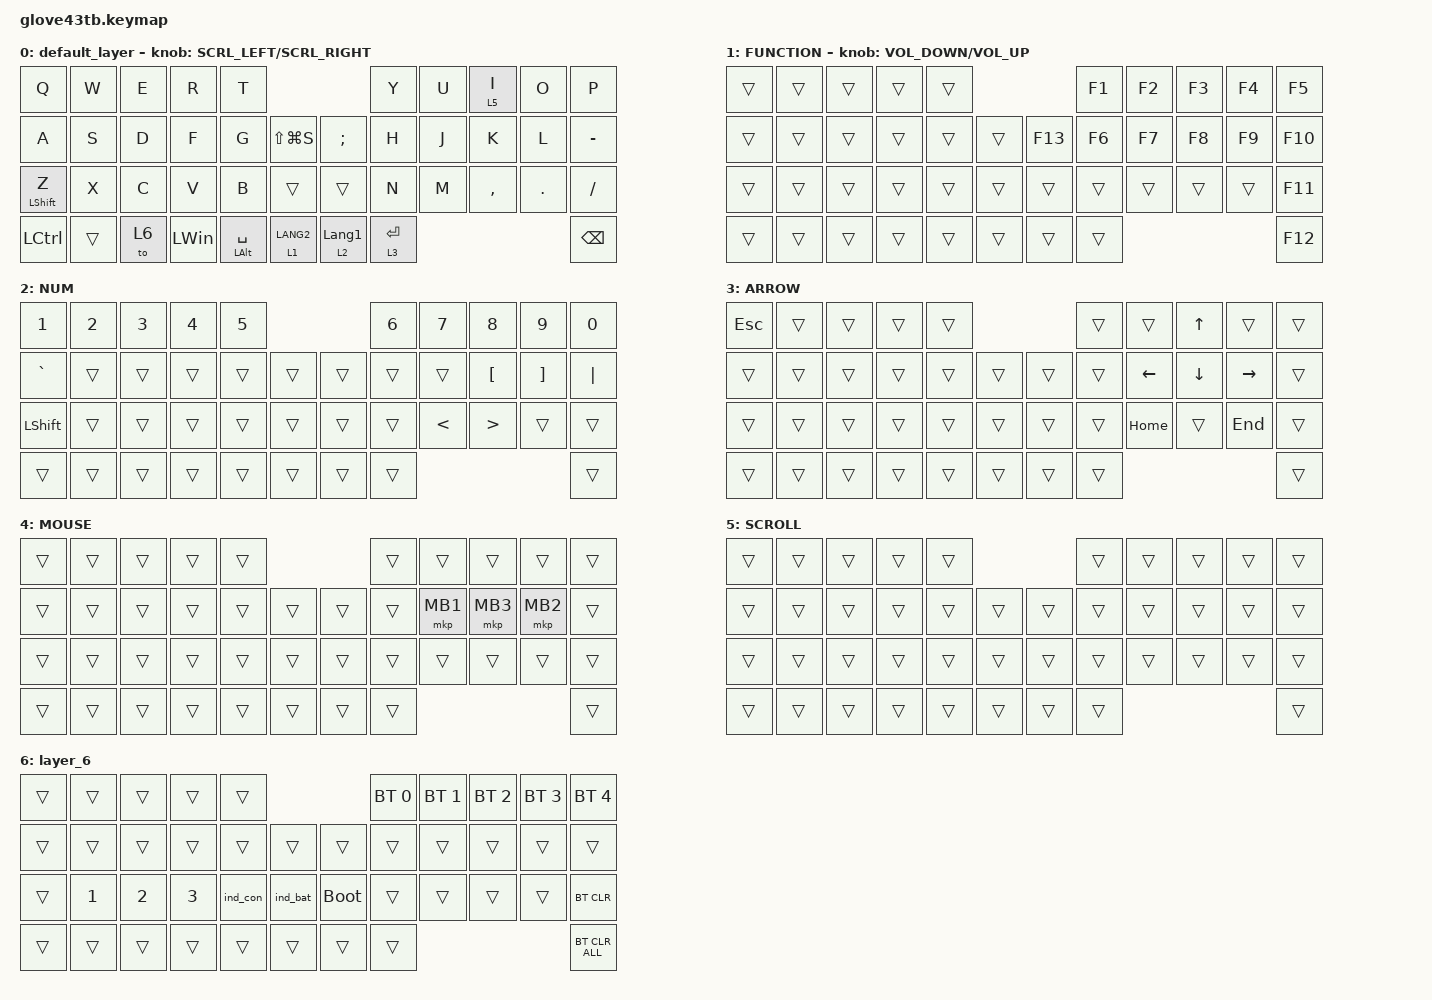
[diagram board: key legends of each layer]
#define ZMK_POINTING_DEFAULT_SCRL_VAL 150

#include <behaviors/rgbled_widget.dtsi>
#include <dt-bindings/zmk/input_transform.h>
#include <input/processors.dtsi>
#include <zephyr/dt-bindings/input/input-event-codes.h>
#include <behaviors.dtsi>
#include <dt-bindings/zmk/bt.h>
#include <dt-bindings/zmk/keys.h>
#include <dt-bindings/zmk/pointing.h>

&mt {
    flavor = "balanced";
    quick-tap-ms = <0>;
};

&mmv {
    delay-ms = <20>;
    trigger-period-ms = <5>;
    time-to-max-speed-ms = <100>;
    acceleration-exponent = <2>;
};

&msc {
    delay-ms = <3>;
    trigger-period-ms = <3>;
    time-to-max-speed-ms = <100>;
    acceleration-exponent = <0>;
};

/ {
    input_processors {
        zip_wheel_scaler: zip_wheel_scaler {
            compatible = "zmk,input-processor-scaler";
            #input-processor-cells = <2>;
            type = <INPUT_EV_REL>;
            codes = <INPUT_REL_WHEEL>;
            track-remainders;
        };
    };
};

/ {
    combos {
        compatible = "zmk,combos";

        tab {
            bindings = <&kp TAB>;
            key-positions = <11 12>;
        };

        shift_tab {
            bindings = <&kp LS(TAB)>;
            key-positions = <12 13>;
        };

        muhennkann {
            bindings = <&to_layer_0 INT_MUHENKAN>;
            key-positions = <11 10>;
        };

        double_quotation {
            bindings = <&kp DOUBLE_QUOTES>;
            key-positions = <20 21>;
        };

        eq {
            bindings = <&kp EQUAL>;
            key-positions = <24 25>;
        };
    };

    macros {
        to_layer_0: to_layer_0 {
            compatible = "zmk,behavior-macro-one-param";
            #binding-cells = <1>;
            bindings = <&to 0 &macro_param_1to1 &kp MACRO_PLACEHOLDER>;
            label = "TO_LAYER_0";
        };
    };

    behaviors {
        lt_to_layer_0: lt_to_layer_0 {
            compatible = "zmk,behavior-hold-tap";
            label = "LAYER_TAP_TO_0";
            bindings = <&mo>, <&to_layer_0>;

            #binding-cells = <2>;
            tapping-term-ms = <200>;
        };

        sensor_rotate_kp: sensor_rotate_kp {
            compatible = "zmk,behavior-sensor-rotate-var";
            #sensor-binding-cells = <2>;
            bindings = <&kp>, <&kp>;
        };

        mouse_wheel_scroll: mouse_wheel_scroll {
            compatible = "zmk,behavior-sensor-rotate-var";
            #sensor-binding-cells = <2>;
            bindings = <&msc>, <&msc>;

            tap-ms = <20>;
        };
    };

    keymap {
        compatible = "zmk,keymap";

        default_layer {
            bindings = <
&kp Q             &kp W   &kp E  &kp R         &kp T                                                    &kp Y        &kp U  &lt 5 I    &kp O    &kp P
&kp A             &kp S   &kp D  &kp F         &kp G               &kp LS(LG(S))      &kp SEMICOLON     &kp H        &kp J  &kp K      &kp L    &kp MINUS
&mt LEFT_SHIFT Z  &kp X   &kp C  &kp V         &kp B               &trans             &trans            &kp N        &kp M  &kp COMMA  &kp DOT  &kp SLASH
&kp LCTRL         &trans  &to 6  &kp LEFT_WIN  &mt LEFT_ALT SPACE  &lt 1 LANG2        &lt 2 LANGUAGE_1  &lt 3 ENTER                             &kp BACKSPACE
            >;

            sensor-bindings = <&mouse_wheel_scroll SCRL_LEFT SCRL_RIGHT>;
        };

        FUNCTION {
            bindings = <
&trans  &trans  &trans  &trans  &trans                       &kp F1  &kp F2  &kp F3  &kp F4  &kp F5
&trans  &trans  &trans  &trans  &trans  &trans      &kp F13  &kp F6  &kp F7  &kp F8  &kp F9  &kp F10
&trans  &trans  &trans  &trans  &trans  &trans      &trans   &trans  &trans  &trans  &trans  &kp F11
&trans  &trans  &trans  &trans  &trans  &trans      &trans   &trans                          &kp F12
            >;

            sensor-bindings = <&sensor_rotate_kp C_VOLUME_DOWN C_VOLUME_UP>;
        };

        NUM {
            bindings = <
&kp NUMBER_1    &kp NUMBER_2  &kp NUMBER_3  &kp NUMBER_4  &kp N5                      &kp NUMBER_6  &kp NUMBER_7   &kp NUMBER_8      &kp NUMBER_9       &kp NUMBER_0
&kp GRAVE       &trans        &trans        &trans        &trans  &trans      &trans  &trans        &trans         &kp LEFT_BRACKET  &kp RIGHT_BRACKET  &kp PIPE
&kp LEFT_SHIFT  &trans        &trans        &trans        &trans  &trans      &trans  &trans        &kp LESS_THAN  &kp GREATER_THAN  &trans             &trans
&trans          &trans        &trans        &trans        &trans  &trans      &trans  &trans                                                            &trans
            >;
        };

        ARROW {
            bindings = <
&kp ESCAPE  &trans  &trans  &trans  &trans                      &trans  &trans          &kp UP_ARROW    &trans           &trans
&trans      &trans  &trans  &trans  &trans  &trans      &trans  &trans  &kp LEFT_ARROW  &kp DOWN_ARROW  &kp RIGHT_ARROW  &trans
&trans      &trans  &trans  &trans  &trans  &trans      &trans  &trans  &kp HOME        &trans          &kp END          &trans
&trans      &trans  &trans  &trans  &trans  &trans      &trans  &trans                                                   &trans
            >;
        };

        MOUSE {
            bindings = <
&trans  &trans  &trans  &trans  &trans                      &trans  &trans    &trans    &trans    &trans
&trans  &trans  &trans  &trans  &trans  &trans      &trans  &trans  &mkp MB1  &mkp MB3  &mkp MB2  &trans
&trans  &trans  &trans  &trans  &trans  &trans      &trans  &trans  &trans    &trans    &trans    &trans
&trans  &trans  &trans  &trans  &trans  &trans      &trans  &trans                                &trans
            >;
        };

        SCROLL {
            bindings = <
&trans  &trans  &trans  &trans  &trans                      &trans  &trans  &trans  &trans  &trans
&trans  &trans  &trans  &trans  &trans  &trans      &trans  &trans  &trans  &trans  &trans  &trans
&trans  &trans  &trans  &trans  &trans  &trans      &trans  &trans  &trans  &trans  &trans  &trans
&trans  &trans  &trans  &trans  &trans  &trans      &trans  &trans                          &trans
            >;
        };

        layer_6 {
            bindings = <
&trans  &trans        &trans        &trans        &trans                               &bt BT_SEL 0  &bt BT_SEL 1  &bt BT_SEL 2  &bt BT_SEL 3  &bt BT_SEL 4
&trans  &trans        &trans        &trans        &trans    &trans        &trans       &trans        &trans        &trans        &trans        &trans
&trans  &kp NUMBER_1  &kp NUMBER_2  &kp NUMBER_3  &ind_con  &ind_bat      &bootloader  &trans        &trans        &trans        &trans        &bt BT_CLR
&trans  &trans        &trans        &trans        &trans    &trans        &trans       &trans                                                  &bt BT_CLR_ALL
            >;
        };
    };
};
